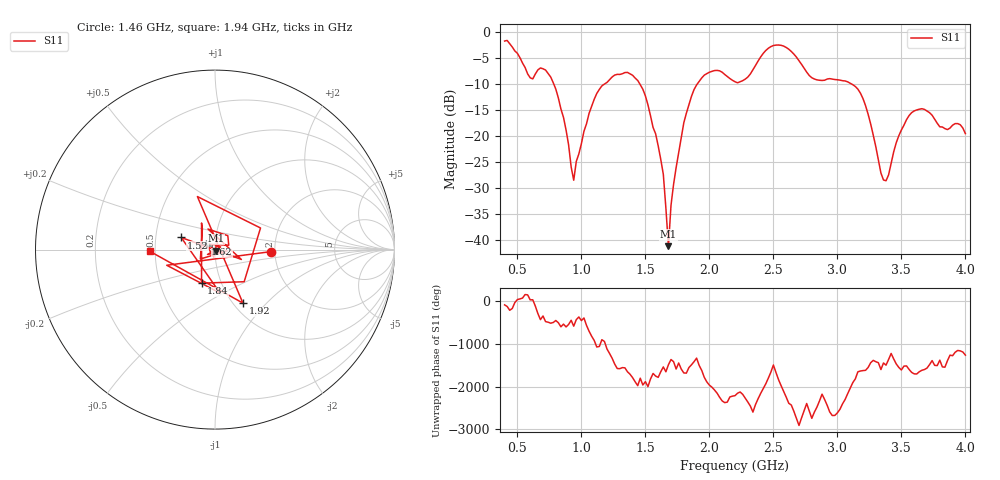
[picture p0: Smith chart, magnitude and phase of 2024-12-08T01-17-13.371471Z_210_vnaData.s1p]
!Created with skrf (http://scikit-rf.org).
# Hz S RI R 50.0
!freq ReS11 ImS11
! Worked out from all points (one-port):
!   181 points, 400 MHz to 4 GHz, reference 50 ohm
!   lowest |S11| = -41.2 dB at 1.68 GHz (marker M1), VSWR 1.02, Z = 50.6 - j0.643 ohm
!   |S11| at or under -10 dB: 784.5 MHz to 1.179 GHz (394.1 MHz wide, 40.2 % of centre); 1.457 GHz to 1.904 GHz (446.7 MHz wide, 26.6 % of centre); 3.113 GHz to end of sweep
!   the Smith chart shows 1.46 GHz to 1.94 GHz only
!   S11 on the Smith chart (normalised r, x): 1.46 GHz: 1.91, -0.05; 1.52 GHz: 0.68, +0.10; 1.62 GHz: 0.90, +0.05; 1.84 GHz: 0.81, -0.31; 1.92 GHz: 1.11, -0.74; 1.94 GHz: 0.47, -0.01
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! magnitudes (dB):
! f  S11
! 400 MHz  -1.7
! 600 MHz  -8.8
! 720 MHz  -7.3
! 860 MHz  -16.4
! 940 MHz  -28.5
! 1.1 GHz  -12.9
! 1.3 GHz  -8.1
! 1.46 GHz  -10.1
! 1.52 GHz  -14.0
! 1.62 GHz  -24.5
! 1.64 GHz  -27.3
! 1.68 GHz  -41.2
! 1.7 GHz  -33.3
! 1.76 GHz  -23.2
! 1.84 GHz  -13.9
! 1.92 GHz  -9.5
! 1.94 GHz  -8.8
! 2.06 GHz  -7.3
! 2.2 GHz  -9.5
! 2.48 GHz  -2.8
! 2.66 GHz  -4.2
! 2.8 GHz  -8.8
! 3.1 GHz  -9.8
! 3.22 GHz  -14.1
! 3.36 GHz  -28.4
! 3.56 GHz  -16.0
! 3.68 GHz  -14.8
! 4 GHz  -19.5
